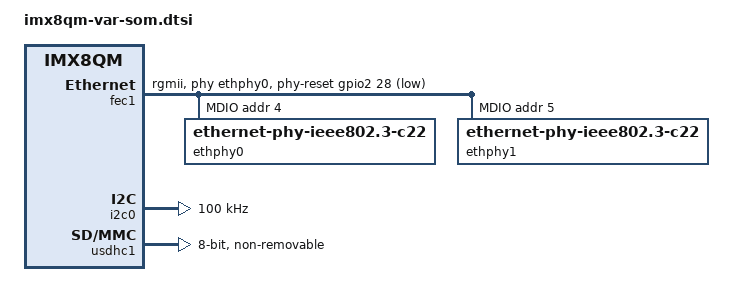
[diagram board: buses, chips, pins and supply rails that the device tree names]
// SPDX-License-Identifier: GPL-2.0+
/*
 * Copyright 2017-2018 NXP
 * Copyright 2019-2023 Variscite Ltd.
 */

/dts-v1/;

#include "fsl-imx8qm.dtsi"

&fec1 {
	pinctrl-names = "default";
	pinctrl-0 = <&pinctrl_fec1>;
	phy-mode = "rgmii";
	phy-handle = <&ethphy0>;
	phy-reset-gpios = <&gpio2 28 GPIO_ACTIVE_LOW>;
	phy-reset-duration = <10>;
	phy-reset-post-delay = <20>;
	fsl,magic-packet;
	status = "okay";

	mdio {
		#address-cells = <1>;
		#size-cells = <0>;

		ethphy0: ethernet-phy@4 {
			compatible = "ethernet-phy-ieee802.3-c22";
			reg = <4>;
			at803x,eee-disabled;
			at803x,vddio-1p8v;
		};

		ethphy1: ethernet-phy@5 {
			compatible = "ethernet-phy-ieee802.3-c22";
			reg = <5>;
			at803x,eee-disabled;
			at803x,vddio-1p8v;
			adi,phy-mode-override = "rgmii";
		};
	};
};

&gpio2 {
	status = "okay";
};

&i2c0 {
	#address-cells = <1>;
	#size-cells = <0>;
	clock-frequency = <100000>;
	pinctrl-names = "default";
	pinctrl-0 = <&pinctrl_i2c0>;
	status = "okay";
};

&iomuxc {

	pinctrl-names = "default";

	imx8qm-var-som {

		pinctrl_fec1: fec1grp {
			fsl,pins = <
				SC_P_COMP_CTL_GPIO_1V8_3V3_ENET_ENETB_PAD	0x000014a0
				SC_P_ENET0_MDC_CONN_ENET0_MDC			0x06000048
				SC_P_ENET0_MDIO_CONN_ENET0_MDIO			0x06000048
				SC_P_ENET0_RGMII_TX_CTL_CONN_ENET0_RGMII_TX_CTL	0x00000061
				SC_P_ENET0_RGMII_TXC_CONN_ENET0_RGMII_TXC	0x00000061
				SC_P_ENET0_RGMII_TXD0_CONN_ENET0_RGMII_TXD0	0x00000061
				SC_P_ENET0_RGMII_TXD1_CONN_ENET0_RGMII_TXD1	0x00000061
				SC_P_ENET0_RGMII_TXD2_CONN_ENET0_RGMII_TXD2	0x00000061
				SC_P_ENET0_RGMII_TXD3_CONN_ENET0_RGMII_TXD3	0x00000061
				SC_P_ENET0_RGMII_RXC_CONN_ENET0_RGMII_RXC	0x00000061
				SC_P_ENET0_RGMII_RX_CTL_CONN_ENET0_RGMII_RX_CTL	0x00000061
				SC_P_ENET0_RGMII_RXD0_CONN_ENET0_RGMII_RXD0	0x00000061
				SC_P_ENET0_RGMII_RXD1_CONN_ENET0_RGMII_RXD1	0x00000061
				SC_P_ENET0_RGMII_RXD2_CONN_ENET0_RGMII_RXD2	0x00000061
				SC_P_ENET0_RGMII_RXD3_CONN_ENET0_RGMII_RXD3	0x00000061
				SC_P_ESAI0_TX2_RX3_LSIO_GPIO2_IO28		0x00000021
			>;
		};

		pinctrl_i2c0: lpi2c0grp {
			fsl,pins = <
				SC_P_HDMI_TX0_TS_SCL_DMA_I2C0_SCL		0x06000020
				SC_P_HDMI_TX0_TS_SDA_DMA_I2C0_SDA		0x06000020
			>;
		};

		pinctrl_usdhc1: usdhc1grp {
			fsl,pins = <
				SC_P_EMMC0_CLK_CONN_EMMC0_CLK			0x06000041
				SC_P_EMMC0_CMD_CONN_EMMC0_CMD			0x00000021
				SC_P_EMMC0_DATA0_CONN_EMMC0_DATA0		0x00000021
				SC_P_EMMC0_DATA1_CONN_EMMC0_DATA1		0x00000021
				SC_P_EMMC0_DATA2_CONN_EMMC0_DATA2		0x00000021
				SC_P_EMMC0_DATA3_CONN_EMMC0_DATA3		0x00000021
				SC_P_EMMC0_DATA4_CONN_EMMC0_DATA4		0x00000021
				SC_P_EMMC0_DATA5_CONN_EMMC0_DATA5		0x00000021
				SC_P_EMMC0_DATA6_CONN_EMMC0_DATA6		0x00000021
				SC_P_EMMC0_DATA7_CONN_EMMC0_DATA7		0x00000021
				SC_P_EMMC0_STROBE_CONN_EMMC0_STROBE		0x00000041
				SC_P_EMMC0_RESET_B_CONN_EMMC0_RESET_B		0x00000021
			>;
		};
	};
};

&thermal_zones {
	pmic-thermal0 {
		polling-delay-passive = <250>;
		polling-delay = <2000>;
		thermal-sensors = <&tsens 5>;
		trips {
			pmic_alert0: trip0 {
				temperature = <110000>;
				hysteresis = <2000>;
				type = "passive";
			};
			pmic_crit0: trip1 {
				temperature = <125000>;
				hysteresis = <2000>;
				type = "critical";
			};
		};
		cooling-maps {
			map0 {
				trip = <&pmic_alert0>;
				cooling-device =
				<&A53_0 THERMAL_NO_LIMIT THERMAL_NO_LIMIT>;
			};
			map1 {
				trip = <&pmic_alert0>;
				cooling-device =
				<&A72_0 THERMAL_NO_LIMIT THERMAL_NO_LIMIT>;
			};
		};
	};
};

&tsens {
	tsens-num = <6>;
};

&usdhc1 {
	pinctrl-names = "default", "state_100mhz", "state_200mhz";
	pinctrl-0 = <&pinctrl_usdhc1>;
	pinctrl-1 = <&pinctrl_usdhc1>;
	pinctrl-2 = <&pinctrl_usdhc1>;
	bus-width = <8>;
	non-removable;
	status = "okay";
};
